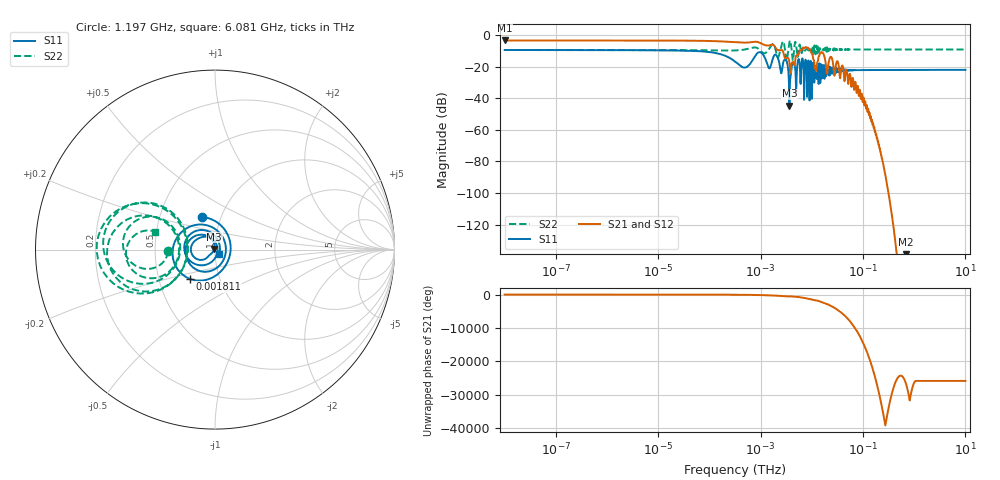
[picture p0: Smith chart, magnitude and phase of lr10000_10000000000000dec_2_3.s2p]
! NPort=2 DATA=4501 NOISE=0 GROUPDELAY=0 COMPLEX_DATAFORMAT=RI
! NumOfBlock=1 NumOfParam=0
! .MODEL Smodel S TSTONEFILE=./link_rx/link_rx_l3/lr10000_10000000000000dec_2_3.s2p TYPE=S
!  -- The above .MODEL line can be used for the S element in the netlist.
# Hz S RI R  50
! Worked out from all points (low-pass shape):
!   4501 points, 10 kHz to 10 THz, reference 50 ohm
!   highest |S21| = -3.52 dB at 10 kHz (marker M1); lowest = -198.7 dB at 685.5 GHz (marker M2)
!   |S21| within 3 dB of the highest: start of sweep to 1.228 GHz; 1.532 GHz to 1.817 GHz (284.9 MHz wide, 17 % of centre)
!   lowest |S11| = -44.8 dB at 3.648 GHz (marker M3), VSWR 1.01, Z = 49.5 + j0.286 ohm
!   |S11| at or under -10 dB: 35.08 MHz to end of sweep
!   |S22| runs from -16.4 to -3.6 dB; largest |S21 - S12| = 0
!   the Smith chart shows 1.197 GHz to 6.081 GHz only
!   S11 on the Smith chart (normalised r, x): 1.197 GHz: 0.81, +0.31; 1.811 GHz: 0.72, -0.25; 6.081 GHz: 1.05, -0.05
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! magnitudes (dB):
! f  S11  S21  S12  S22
! 10 kHz  -9.5  -3.5  -3.5  -9.5
! 316.2 kHz  -9.6  -3.5  -3.5  -9.6
! 10 MHz  -9.8  -3.6  -3.6  -9.6
! 316.2 MHz  -16.8  -4.7  -4.7  -9.8
! 1.197 GHz  -14.1  -6.4  -6.4  -11.6
! 1.479 GHz  -21.2  -6.6  -6.6  -8.7
! 1.811 GHz  -13.4  -6.5  -6.5  -6.1
! 2.5 GHz  -23.9  -9.6  -9.6  -8.0
! 3.09 GHz  -15.8  -14.8  -14.8  -13.2
! 3.648 GHz  -44.8  -17.2  -17.2  -4.8
! 6.081 GHz  -29.3  -9.8  -9.8  -9.2
! 10 GHz  -31.6  -11.7  -11.7  -9.2
! 11.8 GHz  -19.5  -21.0  -21.0  -12.3
! 15.78 GHz  -24.6  -11.0  -11.0  -9.3
! 19.59 GHz  -22.2  -23.1  -23.1  -9.6
! 23.66 GHz  -20.7  -13.8  -13.8  -9.3
! 59.16 GHz  -22.2  -32.8  -32.8  -9.3
! 129.4 GHz  -22.2  -50.1  -50.1  -9.2
! 239.9 GHz  -22.2  -79.9  -79.9  -9.2
! 316.2 GHz  -22.2  -100.2  -100.2  -9.2
! 685.5 GHz  -22.1  -198.7  -198.7  -9.2
! 10 THz  -22.1  -  -  -9.2
